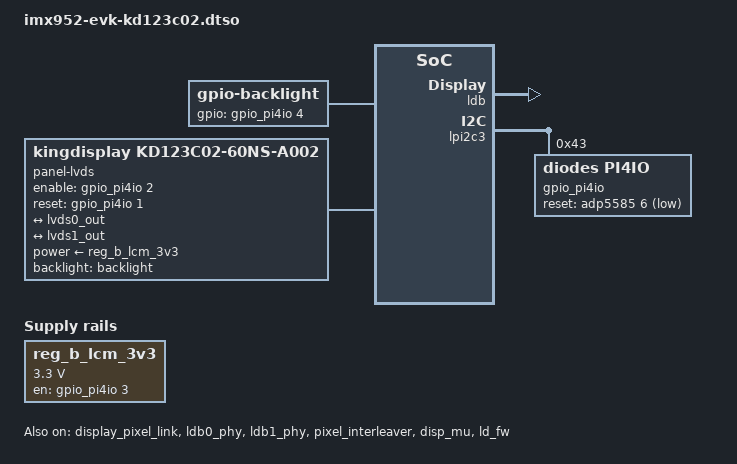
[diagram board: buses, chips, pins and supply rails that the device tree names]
// SPDX-License-Identifier: (GPL-2.0+ OR MIT)
/*
 * Copyright 2026 NXP
 */
/dts-v1/;
/plugin/;

#include <dt-bindings/gpio/gpio.h>

&{/} {
	backlight: backlight {
		compatible = "gpio-backlight";
		gpios = <&gpio_pi4io 4 GPIO_ACTIVE_HIGH>;
	};

	panel-lvds {
		compatible = "kingdisplay,kd123c02-60ns-a002", "panel-lvds";
		width-mm = <292>;
		height-mm = <110>;
		backlight = <&backlight>;
		data-mapping = "vesa-24";
		power-supply = <&reg_b_lcm_3v3>;
		enable-gpios = <&gpio_pi4io 2 GPIO_ACTIVE_HIGH>;
		reset-gpios = <&gpio_pi4io 1 GPIO_ACTIVE_HIGH>;

		panel-timing {
			clock-frequency = <91600000>;
			hactive = <1920>;
			vactive = <720>;
			hfront-porch = <52>;
			hback-porch = <32>;
			hsync-len = <24>;
			vfront-porch = <8>;
			vback-porch = <21>;
			vsync-len = <3>;
		};

		ports {
			#address-cells = <1>;
			#size-cells = <0>;

			port@0 {
				reg = <0>;
				dual-lvds-odd-pixels;

				panel_in_odd: endpoint {
					remote-endpoint = <&lvds0_out>;
				};
			};

			port@1 {
				reg = <1>;
				dual-lvds-even-pixels;

				panel_in_even: endpoint {
					remote-endpoint = <&lvds1_out>;
				};
			};
		};
	};

	reg_b_lcm_3v3: regulator-b-lcm-3v3 {
		compatible = "regulator-fixed";
		regulator-name = "B_LCM_3V3";
		regulator-min-microvolt = <3300000>;
		regulator-max-microvolt = <3300000>;
		gpio = <&gpio_pi4io 3 GPIO_ACTIVE_HIGH>;
		enable-active-high;
	};
};

&display_pixel_link {
	status = "okay";
};

&ldb {
	#address-cells = <1>;
	#size-cells = <0>;
	status = "okay";

	channel@0 {
		#address-cells = <1>;
		#size-cells = <0>;
		reg = <0>;
		status = "okay";

		port@1 {
			reg = <1>;

			lvds0_out: endpoint {
				remote-endpoint = <&panel_in_odd>;
			};
		};
	};

	channel@1 {
		#address-cells = <1>;
		#size-cells = <0>;
		reg = <1>;
		status = "okay";

		port@1 {
			reg = <1>;

			lvds1_out: endpoint {
				remote-endpoint = <&panel_in_even>;
			};
		};
	};
};

&ldb0_phy {
	status = "okay";
};

&ldb1_phy {
	status = "okay";
};

&lpi2c3 {
	#address-cells = <1>;
	#size-cells = <0>;

	gpio_pi4io: gpio@43 {
		compatible = "diodes,pi4io";
		reg = <0x43>;
		gpio-controller;
		#gpio-cells = <2>;
		reset-gpios = <&adp5585 6 GPIO_ACTIVE_LOW>;
	};
};

&pixel_interleaver {
	#address-cells = <1>;
	#size-cells = <0>;
	status = "okay";

	channel@0 {
		reg = <0>;
		status = "okay";
	};
};

&dispmix_mu1 {
	status = "okay";
};

&disp_mu {
	status = "okay";
};

&ld_fw {
	status = "okay";
};

&dpu {
	nxp,ldfw-rproc = <&ld_fw>;
};
